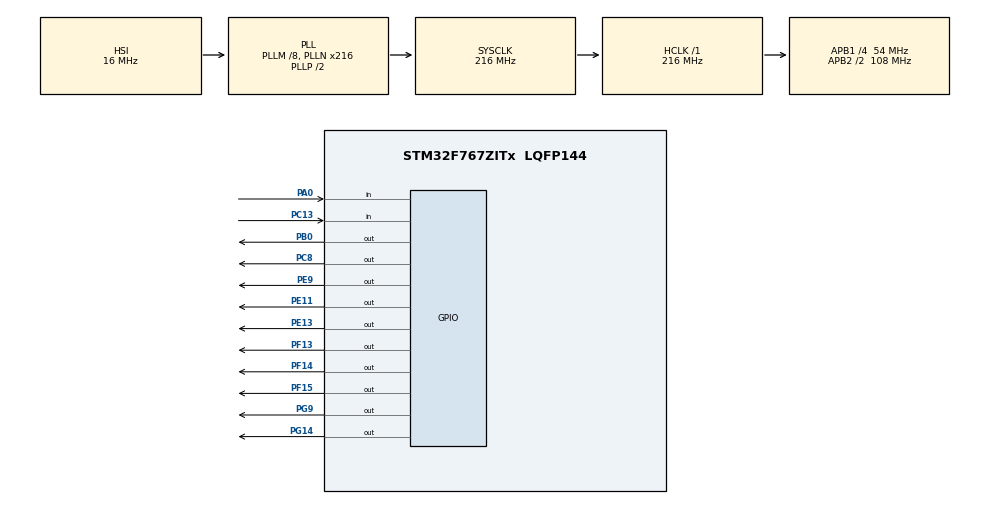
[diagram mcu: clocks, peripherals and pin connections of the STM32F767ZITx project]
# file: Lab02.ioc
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Mcu.Family=STM32F7
Mcu.Name=STM32F767ZITx
Mcu.Package=LQFP144
NVIC.PriorityGroup=NVIC_PRIORITYGROUP_4
PA0/WKUP.Signal=GPIO_Input
PB0.Signal=GPIO_Output
PC13.Signal=GPIO_Input
PC8.Signal=GPIO_Output
PE11.Signal=GPIO_Output
PE13.Signal=GPIO_Output
PE9.Signal=GPIO_Output
PF13.Signal=GPIO_Output
PF14.Signal=GPIO_Output
PF15.Signal=GPIO_Output
PG14.Signal=GPIO_Output
PG9.Signal=GPIO_Output
ProjectManager.HeapSize=0x200
ProjectManager.StackSize=0x400
ProjectManager.TargetToolchain=STM32CubeIDE
RCC.AHBFreq_Value=216000000
RCC.APB1CLKDivider=RCC_HCLK_DIV4
RCC.APB1Freq_Value=54000000
RCC.APB1TimFreq_Value=108000000
RCC.APB2CLKDivider=RCC_HCLK_DIV2
RCC.APB2Freq_Value=108000000
RCC.APB2TimFreq_Value=216000000
RCC.CortexFreq_Value=216000000
RCC.HCLKFreq_Value=216000000
RCC.HSE_VALUE=25000000
RCC.HSI_VALUE=16000000
RCC.LSE_VALUE=32768
RCC.PLLM=8
RCC.PLLN=216
RCC.SYSCLKFreq_VALUE=216000000
RCC.SYSCLKSource=RCC_SYSCLKSOURCE_PLLCLK
RCC.USBFreq_Value=216000000
RCC.VCOOutputFreq_Value=432000000
board=custom

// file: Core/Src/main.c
/* USER CODE BEGIN Header */
/**
 ******************************************************************************
 * @file           : main.c
 * @brief          : Main program body
 ******************************************************************************
 * @attention
 *
 * Copyright (c) 2022 STMicroelectronics.
 * All rights reserved.
 *
 * This software is licensed under terms that can be found in the LICENSE file
 * in the root directory of this software component.
 * If no LICENSE file comes with this software, it is provided AS-IS.
 *
 ******************************************************************************
 */
/* USER CODE END Header */
#include "main.h"
#include "gpio.h"

/* USER CODE BEGIN PV */
uint8_t num = 0;
/* USER CODE END PV */

void SystemClock_Config(void);

int main(void)
{

  /* MCU Configuration--------------------------------------------------------*/

  /* Reset of all peripherals, Initializes the Flash interface and the Systick. */
  HAL_Init();

  /* Configure the system clock */
  SystemClock_Config();

  /* Initialize all configured peripherals */
  MX_GPIO_Init();

  /* Infinite loop */
	while (1) {

    /* USER CODE BEGIN 3 */
		if (HAL_GPIO_ReadPin(GPIOC, GPIO_PIN_13) == GPIO_PIN_SET) {
			if (num == 0) {
				HAL_GPIO_WritePin(GPIOF, GPIO_PIN_13, GPIO_PIN_RESET);
				HAL_GPIO_WritePin(GPIOG, GPIO_PIN_9, GPIO_PIN_SET);
				HAL_Delay(500);
			} else if (num == 1) {
				HAL_GPIO_WritePin(GPIOE, GPIO_PIN_9, GPIO_PIN_RESET);
				HAL_GPIO_WritePin(GPIOF, GPIO_PIN_13, GPIO_PIN_SET);
				HAL_Delay(500);
			} else if (num == 2) {
				HAL_GPIO_WritePin(GPIOE, GPIO_PIN_11, GPIO_PIN_RESET);
				HAL_GPIO_WritePin(GPIOE, GPIO_PIN_9, GPIO_PIN_SET);
				HAL_Delay(500);
			} else if (num == 3) {
				HAL_GPIO_WritePin(GPIOF, GPIO_PIN_14, GPIO_PIN_RESET);
				HAL_GPIO_WritePin(GPIOE, GPIO_PIN_11, GPIO_PIN_SET);
				HAL_Delay(500);
			} else if (num == 4) {
				HAL_GPIO_WritePin(GPIOE, GPIO_PIN_13, GPIO_PIN_RESET);
				HAL_GPIO_WritePin(GPIOF, GPIO_PIN_14, GPIO_PIN_SET);
				HAL_Delay(500);
			} else if (num == 5) {
				HAL_GPIO_WritePin(GPIOF, GPIO_PIN_15, GPIO_PIN_RESET);
				HAL_GPIO_WritePin(GPIOE, GPIO_PIN_13, GPIO_PIN_SET);
				HAL_Delay(500);
			} else if (num == 6) {
				HAL_GPIO_WritePin(GPIOG, GPIO_PIN_14, GPIO_PIN_RESET);
				HAL_GPIO_WritePin(GPIOF, GPIO_PIN_15, GPIO_PIN_SET);
				HAL_Delay(500);
			} else if (num == 7) {
				HAL_GPIO_WritePin(GPIOG, GPIO_PIN_9, GPIO_PIN_RESET);
				HAL_GPIO_WritePin(GPIOG, GPIO_PIN_14, GPIO_PIN_SET);
				HAL_Delay(500);
			}
			num++;
			if (num > 7) {
				num = 0;
			}
		} else if (HAL_GPIO_ReadPin(GPIOA, GPIO_PIN_0) == GPIO_PIN_RESET) {
			HAL_GPIO_WritePin(GPIOG, GPIO_PIN_9, GPIO_PIN_SET);
			HAL_GPIO_WritePin(GPIOG, GPIO_PIN_14, GPIO_PIN_SET);
			HAL_GPIO_WritePin(GPIOF, GPIO_PIN_15, GPIO_PIN_SET);
			HAL_GPIO_WritePin(GPIOE, GPIO_PIN_13, GPIO_PIN_SET);
			HAL_GPIO_WritePin(GPIOF, GPIO_PIN_14, GPIO_PIN_SET);
			HAL_GPIO_WritePin(GPIOE, GPIO_PIN_11, GPIO_PIN_SET);
			HAL_GPIO_WritePin(GPIOE, GPIO_PIN_9, GPIO_PIN_SET);
			HAL_GPIO_WritePin(GPIOF, GPIO_PIN_13, GPIO_PIN_SET);
			HAL_GPIO_WritePin(GPIOG, GPIO_PIN_9, GPIO_PIN_RESET);
			HAL_Delay(500);
			HAL_GPIO_WritePin(GPIOG, GPIO_PIN_9, GPIO_PIN_SET);
			HAL_GPIO_WritePin(GPIOG, GPIO_PIN_14, GPIO_PIN_RESET);
			HAL_Delay(500);
			HAL_GPIO_WritePin(GPIOG, GPIO_PIN_14, GPIO_PIN_SET);
			HAL_GPIO_WritePin(GPIOF, GPIO_PIN_15, GPIO_PIN_RESET);
			HAL_Delay(500);
			HAL_GPIO_WritePin(GPIOF, GPIO_PIN_15, GPIO_PIN_SET);
			HAL_GPIO_WritePin(GPIOE, GPIO_PIN_13, GPIO_PIN_RESET);
			HAL_Delay(500);
			HAL_GPIO_WritePin(GPIOE, GPIO_PIN_13, GPIO_PIN_SET);
			HAL_GPIO_WritePin(GPIOF, GPIO_PIN_14, GPIO_PIN_RESET);
			HAL_Delay(500);
			HAL_GPIO_WritePin(GPIOF, GPIO_PIN_14, GPIO_PIN_SET);
			HAL_GPIO_WritePin(GPIOE, GPIO_PIN_11, GPIO_PIN_RESET);
			HAL_Delay(500);
			HAL_GPIO_WritePin(GPIOE, GPIO_PIN_11, GPIO_PIN_SET);
			HAL_GPIO_WritePin(GPIOE, GPIO_PIN_9, GPIO_PIN_RESET);
			HAL_Delay(500);
			HAL_GPIO_WritePin(GPIOE, GPIO_PIN_9, GPIO_PIN_SET);
			HAL_GPIO_WritePin(GPIOF, GPIO_PIN_13, GPIO_PIN_RESET);
			HAL_Delay(500);
			HAL_GPIO_WritePin(GPIOF, GPIO_PIN_13, GPIO_PIN_SET);
			HAL_Delay(500);
		}

	}
  /* USER CODE END 3 */
}

void SystemClock_Config(void)
{
  RCC_OscInitTypeDef RCC_OscInitStruct = {0};
  RCC_ClkInitTypeDef RCC_ClkInitStruct = {0};

  /** Configure the main internal regulator output voltage
  */
  __HAL_RCC_PWR_CLK_ENABLE();
  __HAL_PWR_VOLTAGESCALING_CONFIG(PWR_REGULATOR_VOLTAGE_SCALE1);

  /** Initializes the RCC Oscillators according to the specified parameters
  * in the RCC_OscInitTypeDef structure.
  */
  RCC_OscInitStruct.OscillatorType = RCC_OSCILLATORTYPE_HSI;
  RCC_OscInitStruct.HSIState = RCC_HSI_ON;
  RCC_OscInitStruct.HSICalibrationValue = RCC_HSICALIBRATION_DEFAULT;
  RCC_OscInitStruct.PLL.PLLState = RCC_PLL_ON;
  RCC_OscInitStruct.PLL.PLLSource = RCC_PLLSOURCE_HSI;
  RCC_OscInitStruct.PLL.PLLM = 8;
  RCC_OscInitStruct.PLL.PLLN = 216;
  RCC_OscInitStruct.PLL.PLLP = RCC_PLLP_DIV2;
  RCC_OscInitStruct.PLL.PLLQ = 2;
  RCC_OscInitStruct.PLL.PLLR = 2;
  if (HAL_RCC_OscConfig(&RCC_OscInitStruct) != HAL_OK)
  {
    Error_Handler();
  }

  /** Activate the Over-Drive mode
  */
  if (HAL_PWREx_EnableOverDrive() != HAL_OK)
  {
    Error_Handler();
  }

  /** Initializes the CPU, AHB and APB buses clocks
  */
  RCC_ClkInitStruct.ClockType = RCC_CLOCKTYPE_HCLK|RCC_CLOCKTYPE_SYSCLK
                              |RCC_CLOCKTYPE_PCLK1|RCC_CLOCKTYPE_PCLK2;
  RCC_ClkInitStruct.SYSCLKSource = RCC_SYSCLKSOURCE_PLLCLK;
  RCC_ClkInitStruct.AHBCLKDivider = RCC_SYSCLK_DIV1;
  RCC_ClkInitStruct.APB1CLKDivider = RCC_HCLK_DIV4;
  RCC_ClkInitStruct.APB2CLKDivider = RCC_HCLK_DIV2;

  if (HAL_RCC_ClockConfig(&RCC_ClkInitStruct, FLASH_LATENCY_7) != HAL_OK)
  {
    Error_Handler();
  }
}

void Error_Handler(void)
{
	__disable_irq();
	while (1) {
	}
}
